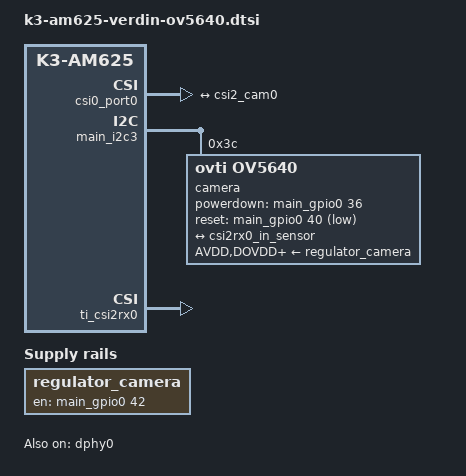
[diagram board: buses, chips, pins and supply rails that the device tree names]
// SPDX-License-Identifier: GPL-2.0-or-later OR MIT
/*
 * Copyright (c) Toradex
 *
 * Common device tree include for Toradex OV5640 CSI camera on Verdin CSI_1.
 */

#include <dt-bindings/gpio/gpio.h>

&{/} {
	clk_ov5640_osc: ov5640-xclk {
		compatible = "fixed-clock";
		#clock-cells = <0>;
	};

	regulator_camera: regulator-camera {
		compatible = "regulator-fixed";
		/* Verdin GPIO_8_CSI (SODIMM 222) - CAM_1_CON_PWRCTRL */
		gpio = <&main_gpio0 42 GPIO_ACTIVE_HIGH>;
		enable-active-high;
		regulator-name = "V_CSI";
		startup-delay-us = <5000>;
	};
};

&csi0_port0 {
	status = "okay";

	csi2rx0_in_sensor: endpoint {
		remote-endpoint = <&csi2_cam0>;
		bus-type = <4>; /* CSI2 DPHY */
		clock-lanes = <0>;
		data-lanes = <1 2>;
	};
};

&dphy0 {
	status = "okay";
};

&main_i2c3 {
	#address-cells = <1>;
	#size-cells = <0>;

	camera@3c {
		compatible = "ovti,ov5640";
		reg = <0x3c>;

		clocks = <&clk_ov5640_osc>;
		clock-names = "xclk";
		AVDD-supply = <&regulator_camera>;
		DOVDD-supply = <&regulator_camera>;
		DVDD-supply = <&regulator_camera>;
		/* Verdin GPIO_6 (SODIMM 218) - CAM_1_CON_PWRDWN */
		powerdown-gpios = <&main_gpio0 36 GPIO_ACTIVE_HIGH>;
		/* Verdin GPIO_5 (SODIMM 216) - CAM_1_CON_RST */
		reset-gpios = <&main_gpio0 40 GPIO_ACTIVE_LOW>;

		port {
			csi2_cam0: endpoint {
				remote-endpoint = <&csi2rx0_in_sensor>;
				clock-lanes = <0>;
				data-lanes = <1 2>;
			};
		};
	};
};

&ti_csi2rx0 {
	status = "okay";
};
